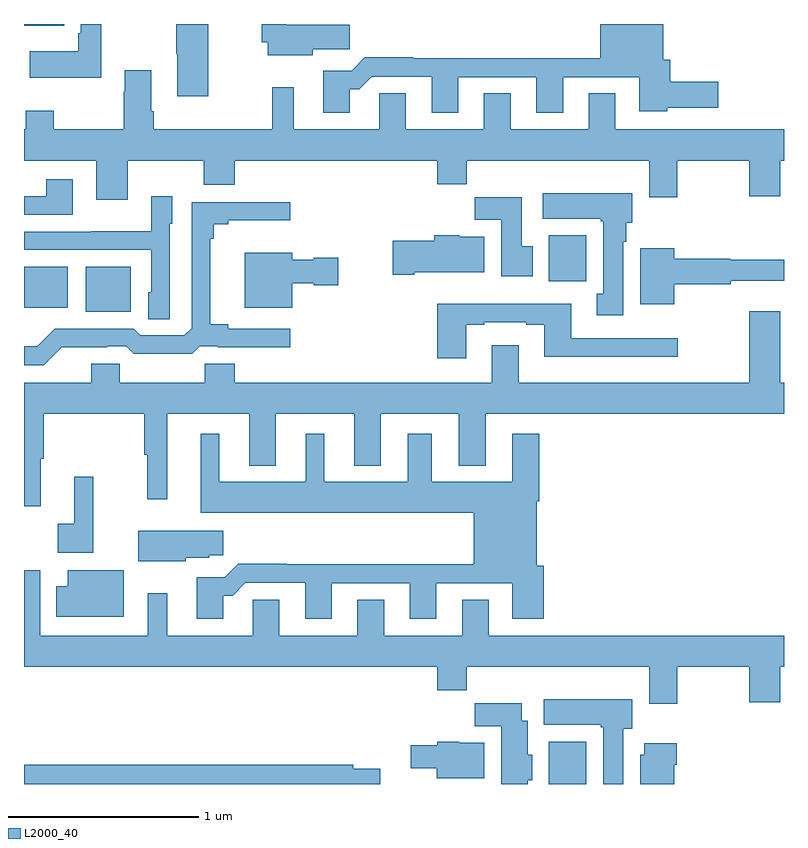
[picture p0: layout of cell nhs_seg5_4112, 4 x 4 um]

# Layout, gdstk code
import gdstk
lib = gdstk.Library(unit=1e-6, precision=1e-09)
def R(c, l, rs):  # rectangles x0, y0, x1, y1
    for r in rs: c.add(gdstk.rectangle(r[:2], r[2:], *l))
def P(c, l, *ps):  # polygons
    for p in ps: c.add(gdstk.Polygon(p, *l))
L2000_40 = (2000, 40)

nhs_seg5_4112 = lib.new_cell('nhs_seg5_4112')
R(nhs_seg5_4112, L2000_40, [(355.763,866.799,355.96,867.022), (353.324,869.285,353.563,869.521), (353,869.306,353.23,869.521), (355.763,869.444,355.96,869.686), (353,870.791,353.213,870.799)])
P(nhs_seg5_4112, L2000_40, [(353.407,870.799),(353.298,870.799),(353.298,870.751),(353.286,870.751),(353.286,870.655),(353.029,870.655),(353.029,870.515),(353.407,870.515)],
  [(353.97,870.799),(353.8,870.799),(353.8,870.643),(353.807,870.643),(353.807,870.42),(353.97,870.42)],
  [(354.52,870.667),(354.715,870.667),(354.715,870.796),(354.38,870.796),(354.38,870.799),(354.252,870.799),(354.252,870.702),(354.284,870.702),(354.284,870.635),(354.52,870.635)],
  [(354.715,870.455),(354.764,870.455),(354.831,870.522),(355.145,870.522),(355.145,870.333),(355.285,870.333),(355.285,870.519),(355.697,870.519),(355.697,870.333),(355.837,870.333),(355.837,870.519),(356.237,870.519),(356.237,870.341),(356.385,870.341),(356.385,870.359),(356.653,870.359),(356.653,870.494),(356.402,870.494),(356.402,870.612),(356.365,870.612),(356.365,870.799),(356.033,870.799),(356.033,870.62),(355.049,870.62),(355.049,870.623),(354.794,870.623),(354.724,870.553),(354.575,870.553),(354.575,870.333),(354.715,870.333)],
  [(353.545,870.08),(353.945,870.08),(353.945,869.952),(354.109,869.952),(354.109,870.08),(355.175,870.08),(355.175,869.956),(355.331,869.956),(355.331,870.08),(356.291,870.08),(356.291,869.886),(356.439,869.886),(356.439,870.08),(356.816,870.08),(356.816,869.892),(356.98,869.892),(356.98,870.08),(357,870.08),(357,870.244),(356.113,870.244),(356.113,870.434),(355.973,870.434),(355.973,870.244),(355.561,870.244),(355.561,870.434),(355.421,870.434),(355.421,870.244),(355.009,870.244),(355.009,870.434),(354.87,870.434),(354.87,870.244),(354.421,870.244),(354.421,870.466),(354.307,870.466),(354.307,870.244),(353.684,870.244),(353.684,870.34),(353.671,870.34),(353.671,870.556),(353.531,870.556),(353.531,870.443),(353.524,870.443),(353.524,870.244),(353.157,870.244),(353.157,870.343),(353.01,870.343),(353.01,870.244),(353,870.244),(353,870.08),(353.381,870.08),(353.381,869.874),(353.545,869.874)],
  [(353.257,869.983),(353.117,869.983),(353.117,869.892),(353,869.892),(353,869.796),(353.257,869.796)],
  [(356.155,869.654),(356.17,869.654),(356.17,869.754),(356.2,869.754),(356.2,869.908),(355.731,869.908),(355.731,869.774),(356.035,869.774),(356.035,869.761),(356.048,869.761),(356.048,869.378),(356.015,869.378),(356.015,869.265),(356.155,869.265)],
  [(353.766,869.748),(353.779,869.748),(353.779,869.893),(353.67,869.893),(353.67,869.707),(353.353,869.707),(353.353,869.706),(353,869.706),(353,869.61),(353.67,869.61),(353.67,869.388),(353.654,869.388),(353.654,869.245),(353.766,869.245)],
  [(355.678,869.628),(355.621,869.628),(355.621,869.887),(355.372,869.887),(355.372,869.768),(355.511,869.768),(355.511,869.472),(355.678,869.472)],
  [(353.198,869.099),(353.438,869.099),(353.438,869.103),(353.538,869.103),(353.578,869.064),(353.885,869.064),(353.925,869.103),(354.019,869.103),(354.019,869.099),(354.4,869.099),(354.4,869.196),(354.076,869.196),(354.076,869.219),(353.981,869.219),(353.981,869.669),(353.999,869.669),(353.999,869.746),(354.076,869.746),(354.076,869.765),(354.4,869.765),(354.4,869.862),(353.883,869.862),(353.883,869.199),(353.844,869.16),(353.613,869.16),(353.577,869.196),(353.163,869.196),(353.069,869.102),(353,869.102),(353,869.004),(353.103,869.004)],
  [(355.054,869.492),(355.423,869.492),(355.423,869.68),(355.29,869.68),(355.29,869.686),(355.16,869.686),(355.16,869.658),(354.942,869.658),(354.942,869.48),(355.054,869.48)],
  [(356.422,869.428),(356.72,869.428),(356.72,869.447),(357,869.447),(357,869.557),(356.718,869.557),(356.718,869.564),(356.422,869.564),(356.422,869.62),(356.243,869.62),(356.243,869.324),(356.422,869.324)],
  [(354.412,869.435),(354.525,869.435),(354.525,869.423),(354.655,869.423),(354.655,869.57),(354.525,869.57),(354.525,869.557),(354.412,869.557),(354.412,869.596),(354.161,869.596),(354.161,869.306),(354.412,869.306)],
  [(355.327,869.217),(355.423,869.217),(355.423,869.229),(355.643,869.229),(355.643,869.217),(355.739,869.217),(355.739,869.048),(356.44,869.048),(356.44,869.145),(355.879,869.145),(355.879,869.326),(355.175,869.326),(355.175,869.04),(355.327,869.04)],
  [(354.11,869.01),(353.95,869.01),(353.95,868.912),(353.505,868.912),(353.505,869.01),(353.354,869.01),(353.354,868.912),(353,868.912),(353,868.26),(353.087,868.26),(353.087,868.512),(353.105,868.512),(353.105,868.748),(353.634,868.748),(353.634,868.532),(353.649,868.532),(353.649,868.299),(353.755,868.299),(353.755,868.748),(354.185,868.748),(354.185,868.475),(354.325,868.475),(354.325,868.748),(354.737,868.748),(354.737,868.475),(354.877,868.475),(354.877,868.748),(355.289,868.748),(355.289,868.475),(355.429,868.475),(355.429,868.748),(357,868.748),(357,868.912),(356.98,868.912),(356.98,869.287),(356.816,869.287),(356.816,868.912),(355.603,868.912),(355.603,869.107),(355.463,869.107),(355.463,868.912),(354.11,868.912)],
  [(354.049,867.791),(354.098,867.791),(354.165,867.858),(354.479,867.858),(354.479,867.669),(354.619,867.669),(354.619,867.855),(355.031,867.855),(355.031,867.669),(355.171,867.669),(355.171,867.855),(355.571,867.855),(355.571,867.669),(355.736,867.669),(355.736,867.948),(355.699,867.948),(355.699,868.286),(355.712,868.286),(355.712,868.642),(355.571,868.642),(355.571,868.39),(355.147,868.39),(355.147,868.642),(355.019,868.642),(355.019,868.39),(354.58,868.39),(354.58,868.642),(354.482,868.642),(354.482,868.39),(354.028,868.39),(354.028,868.642),(353.93,868.642),(353.93,868.226),(355.367,868.226),(355.367,867.956),(354.383,867.956),(354.383,867.959),(354.128,867.959),(354.057,867.888),(353.909,867.888),(353.909,867.669),(354.049,867.669)],
  [(353.364,868.417),(353.264,868.417),(353.264,868.169),(353.178,868.169),(353.178,868.016),(353.364,868.016)],
  [(353.85,867.989),(353.976,867.989),(353.976,868.003),(354.049,868.003),(354.049,868.132),(353.6,868.132),(353.6,867.971),(353.85,867.971)],
  [(356.439,867.416),(356.816,867.416),(356.816,867.228),(356.98,867.228),(356.98,867.416),(357,867.416),(357,867.58),(355.447,867.58),(355.447,867.77),(355.307,867.77),(355.307,867.58),(354.895,867.58),(354.895,867.77),(354.755,867.77),(354.755,867.58),(354.343,867.58),(354.343,867.77),(354.204,867.77),(354.204,867.58),(353.755,867.58),(353.755,867.802),(353.651,867.802),(353.651,867.58),(353.085,867.58),(353.085,867.925),(353,867.925),(353,867.416),(355.175,867.416),(355.175,867.292),(355.331,867.292),(355.331,867.416),(356.291,867.416),(356.291,867.222),(356.439,867.222)],
  [(353.524,867.925),(353.231,867.925),(353.231,867.841),(353.17,867.841),(353.17,867.68),(353.524,867.68)],
  [(356.155,867.09),(356.2,867.09),(356.2,867.244),(355.736,867.244),(355.736,867.11),(356.035,867.11),(356.035,867.097),(356.048,867.097),(356.048,866.799),(356.155,866.799)],
  [(355.651,866.82),(355.675,866.82),(355.675,866.952),(355.651,866.952),(355.651,867.133),(355.621,867.133),(355.621,867.223),(355.372,867.223),(355.372,867.104),(355.511,867.104),(355.511,866.799),(355.651,866.799)],
  [(355.423,867.016),(355.29,867.016),(355.29,867.022),(355.176,867.022),(355.176,867.004),(355.035,867.004),(355.035,866.882),(355.172,866.882),(355.172,866.828),(355.423,866.828)],
  [(356.422,866.9),(356.435,866.9),(356.435,867.013),(356.264,867.013),(356.264,866.952),(356.243,866.952),(356.243,866.799),(356.422,866.799)],
  [(354.876,866.88),(354.734,866.88),(354.734,866.9),(353,866.9),(353,866.799),(354.876,866.799)])

lib.write_gds('nhs_seg5_4112.gds')
